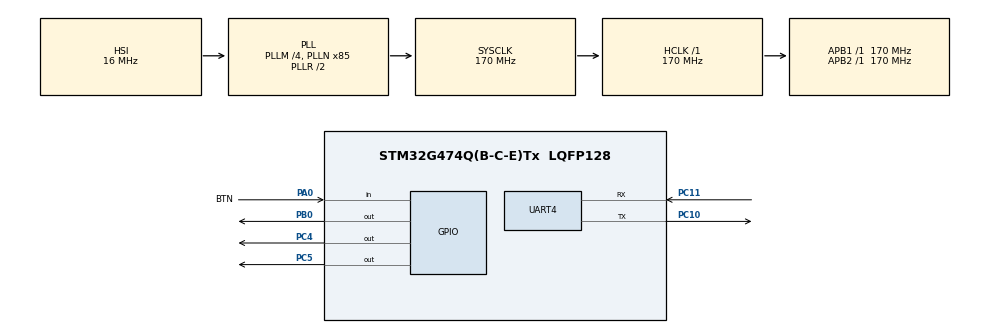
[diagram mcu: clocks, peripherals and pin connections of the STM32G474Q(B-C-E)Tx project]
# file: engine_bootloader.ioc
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Mcu.Family=STM32G4
Mcu.Name=STM32G474Q(B-C-E)Tx
Mcu.Package=LQFP128
NVIC.PriorityGroup=NVIC_PRIORITYGROUP_4
PA0.GPIO_Label=BTN
PA0.Signal=GPIO_Input
PA13.Mode=Serial_Wire
PA13.Signal=SYS_JTMS-SWDIO
PA14.Mode=Serial_Wire
PA14.Signal=SYS_JTCK-SWCLK
PB0.Signal=GPIO_Output
PC10.Mode=Asynchronous
PC10.Signal=UART4_TX
PC11.Mode=Asynchronous
PC11.Signal=UART4_RX
PC4.Signal=GPIO_Output
PC5.Signal=GPIO_Output
PF0-OSC_IN.Mode=HSE-External-Oscillator
PF0-OSC_IN.Signal=RCC_OSC_IN
PF1-OSC_OUT.Mode=HSE-External-Oscillator
PF1-OSC_OUT.Signal=RCC_OSC_OUT
ProjectManager.HeapSize=0x200
ProjectManager.StackSize=0x400
ProjectManager.TargetToolchain=STM32CubeIDE
RCC.ADC12Freq_Value=170000000
RCC.ADC345Freq_Value=170000000
RCC.AHBFreq_Value=170000000
RCC.APB1Freq_Value=170000000
RCC.APB1TimFreq_Value=170000000
RCC.APB2Freq_Value=170000000
RCC.APB2TimFreq_Value=170000000
RCC.CortexFreq_Value=170000000
RCC.EXTERNAL_CLOCK_VALUE=12288000
RCC.HCLKFreq_Value=170000000
RCC.HSE_VALUE=8000000
RCC.HSI48_VALUE=48000000
RCC.HSI_VALUE=16000000
RCC.LSE_VALUE=32768
RCC.PLLM=RCC_PLLM_DIV4
RCC.PLLN=85
RCC.SYSCLKFreq_VALUE=170000000
RCC.SYSCLKSource=RCC_SYSCLKSOURCE_PLLCLK
RCC.USBFreq_Value=170000000
RCC.VCOOutputFreq_Value=340000000
VP_SYS_VS_DBSignals.Mode=DisableDeadBatterySignals
board=custom

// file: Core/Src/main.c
/* USER CODE BEGIN Header */
/**
  ******************************************************************************
  * @file           : main.c
  * @brief          : Main program body
  ******************************************************************************
  * @attention
  *
  * Copyright (c) 2025 STMicroelectronics.
  * All rights reserved.
  *
  * This software is licensed under terms that can be found in the LICENSE file
  * in the root directory of this software component.
  * If no LICENSE file comes with this software, it is provided AS-IS.
  *
  ******************************************************************************
  */
/* USER CODE END Header */
#include "main.h"

/* USER CODE BEGIN Includes */
#include "xmodem.h"
/* USER CODE END Includes */

 UART_HandleTypeDef huart4;

void SystemClock_Config(void);
static void MX_GPIO_Init(void);
static void MX_UART4_Init(void);

int main(void)
{

  /* MCU Configuration--------------------------------------------------------*/

  /* Reset of all peripherals, Initializes the Flash interface and the Systick. */
  HAL_Init();

  /* Configure the system clock */
  SystemClock_Config();

  /* USER CODE BEGIN SysInit */
  #define BOOT_WAIT_MS 3000
  uint32_t start_tick = HAL_GetTick();
  uint8_t rx_data = 0;
  uint8_t boot_cmd_received = 0;
  /* USER CODE END SysInit */

  /* Initialize all configured peripherals */
  MX_GPIO_Init();
  MX_UART4_Init();
  /* USER CODE BEGIN 2 */
  uart_transmit_str((uint8_t*)"\n\r##########################################\n\r");
  uart_transmit_str((uint8_t*)"##    Kisan Engine System Bootloader    ##\n\r");
  uart_transmit_str((uint8_t*)"##         ( version : 0.0.3 )          ##\n\r");
  uart_transmit_str((uint8_t*)"##########################################\n\r");
  uart_transmit_str((uint8_t*)"Press 'b' to stay in bootloader mode...\n\r");

  /* If the button is pressed, then jump to the user application,
   * otherwise stay in the bootloader. */
  //if(!HAL_GPIO_ReadPin(BTN_GPIO_Port, BTN_Pin))

  while(HAL_GetTick() - start_tick < BOOT_WAIT_MS) {
      if(HAL_UART_Receive(&huart4, &rx_data, 1, 10) == HAL_OK) {
          if(rx_data == 'b') { // 원하는 명령 문자
              boot_cmd_received = 1;
              break;
          }
      }
  }

  if(! boot_cmd_received)
  {
    uart_transmit_str((uint8_t*)"Jumping to Application...\n\r");
    flash_jump_to_app();
  }
  else
  {
	  HAL_GPIO_WritePin(GPIOC, GPIO_PIN_4, GPIO_PIN_RESET);
	  HAL_GPIO_WritePin(GPIOC, GPIO_PIN_5, GPIO_PIN_RESET);
	  HAL_GPIO_WritePin(GPIOB, GPIO_PIN_0, GPIO_PIN_RESET);

  /* USER CODE END 2 */

  /* Infinite loop */
  /* USER CODE BEGIN WHILE */
	  while (1)
	  {
		  /* 메뉴 출력 */
		  uart_transmit_str((uint8_t*)"\n\r=== Kisan Coin System Bootloader ===\n\r");
		  uart_transmit_str((uint8_t*)"1. Download Application (Xmodem)\n\r");
		  uart_transmit_str((uint8_t*)"2. Download Config Data (Xmodem)\n\r");
		  uart_transmit_str((uint8_t*)"3. Jump to Application\n\r");
		  uart_transmit_str((uint8_t*)"Select option: ");

		  uint8_t menu_choice = 0;

		  /* 사용자 입력 대기 */
		  while(HAL_UART_Receive(&huart4, &menu_choice, 1, HAL_MAX_DELAY) != HAL_OK);

		  switch(menu_choice) {
		    case '1':
		      uart_transmit_str((uint8_t*)"\n\rReady for Application download...\n\r");
		      uart_transmit_str((uint8_t*)"Please send bin file with Xmodem protocol.\n\r");
		      xmodem_receive(DOWNLOAD_APP);
		      uart_transmit_str((uint8_t*)"\n\rApplication download failed. Please try again.\n\r");
		      break;

		    case '2':
		      uart_transmit_str((uint8_t*)"\n\rReady for Config Data download...\n\r");
		      uart_transmit_str((uint8_t*)"Please send config file with Xmodem protocol.\n\r");
		      xmodem_receive(DOWNLOAD_CONFIG);
		      uart_transmit_str((uint8_t*)"\n\rConfig download failed. Please try again.\n\r");
		      break;

		    case '3':
		      uart_transmit_str((uint8_t*)"Jumping to Application...\n\r");
		      flash_jump_to_app();
		      break;

		    default:
		      uart_transmit_str((uint8_t*)"\n\rInvalid option. Please try again.\n\r");
		      break;
		  }
    /* USER CODE END WHILE */

	  }
  }
}

void SystemClock_Config(void)
{
  RCC_OscInitTypeDef RCC_OscInitStruct = {0};
  RCC_ClkInitTypeDef RCC_ClkInitStruct = {0};

  /** Configure the main internal regulator output voltage
  */
  HAL_PWREx_ControlVoltageScaling(PWR_REGULATOR_VOLTAGE_SCALE1_BOOST);

  /** Initializes the RCC Oscillators according to the specified parameters
  * in the RCC_OscInitTypeDef structure.
  */
  RCC_OscInitStruct.OscillatorType = RCC_OSCILLATORTYPE_HSI;
  RCC_OscInitStruct.HSIState = RCC_HSI_ON;
  RCC_OscInitStruct.HSICalibrationValue = RCC_HSICALIBRATION_DEFAULT;
  RCC_OscInitStruct.PLL.PLLState = RCC_PLL_ON;
  RCC_OscInitStruct.PLL.PLLSource = RCC_PLLSOURCE_HSI;
  RCC_OscInitStruct.PLL.PLLM = RCC_PLLM_DIV4;
  RCC_OscInitStruct.PLL.PLLN = 85;
  RCC_OscInitStruct.PLL.PLLP = RCC_PLLP_DIV2;
  RCC_OscInitStruct.PLL.PLLQ = RCC_PLLQ_DIV2;
  RCC_OscInitStruct.PLL.PLLR = RCC_PLLR_DIV2;
  if (HAL_RCC_OscConfig(&RCC_OscInitStruct) != HAL_OK)
  {
    Error_Handler();
  }

  /** Initializes the CPU, AHB and APB buses clocks
  */
  RCC_ClkInitStruct.ClockType = RCC_CLOCKTYPE_HCLK|RCC_CLOCKTYPE_SYSCLK
                              |RCC_CLOCKTYPE_PCLK1|RCC_CLOCKTYPE_PCLK2;
  RCC_ClkInitStruct.SYSCLKSource = RCC_SYSCLKSOURCE_PLLCLK;
  RCC_ClkInitStruct.AHBCLKDivider = RCC_SYSCLK_DIV1;
  RCC_ClkInitStruct.APB1CLKDivider = RCC_HCLK_DIV1;
  RCC_ClkInitStruct.APB2CLKDivider = RCC_HCLK_DIV1;

  if (HAL_RCC_ClockConfig(&RCC_ClkInitStruct, FLASH_LATENCY_4) != HAL_OK)
  {
    Error_Handler();
  }
}

static void MX_UART4_Init(void)
{

  huart4.Instance = UART4;
  huart4.Init.BaudRate = 115200;
  huart4.Init.WordLength = UART_WORDLENGTH_8B;
  huart4.Init.StopBits = UART_STOPBITS_1;
  huart4.Init.Parity = UART_PARITY_NONE;
  huart4.Init.Mode = UART_MODE_TX_RX;
  huart4.Init.HwFlowCtl = UART_HWCONTROL_NONE;
  huart4.Init.OverSampling = UART_OVERSAMPLING_16;
  huart4.Init.OneBitSampling = UART_ONE_BIT_SAMPLE_DISABLE;
  huart4.Init.ClockPrescaler = UART_PRESCALER_DIV1;
  huart4.AdvancedInit.AdvFeatureInit = UART_ADVFEATURE_NO_INIT;
  if (HAL_UART_Init(&huart4) != HAL_OK)
  {
    Error_Handler();
  }
  if (HAL_UARTEx_SetTxFifoThreshold(&huart4, UART_TXFIFO_THRESHOLD_1_8) != HAL_OK)
  {
    Error_Handler();
  }
  if (HAL_UARTEx_SetRxFifoThreshold(&huart4, UART_RXFIFO_THRESHOLD_1_8) != HAL_OK)
  {
    Error_Handler();
  }
  if (HAL_UARTEx_DisableFifoMode(&huart4) != HAL_OK)
  {
    Error_Handler();
  }

}

static void MX_GPIO_Init(void)
{
  GPIO_InitTypeDef GPIO_InitStruct = {0};

  /* GPIO Ports Clock Enable */
  __HAL_RCC_GPIOF_CLK_ENABLE();
  __HAL_RCC_GPIOA_CLK_ENABLE();
  __HAL_RCC_GPIOC_CLK_ENABLE();
  __HAL_RCC_GPIOB_CLK_ENABLE();

  /*Configure GPIO pin Output Level */
  HAL_GPIO_WritePin(GPIOC, GPIO_PIN_4|GPIO_PIN_5, GPIO_PIN_RESET);

  /*Configure GPIO pin Output Level */
  HAL_GPIO_WritePin(GPIOB, GPIO_PIN_0, GPIO_PIN_RESET);

  /*Configure GPIO pin : BTN_Pin */
  GPIO_InitStruct.Pin = BTN_Pin;
  GPIO_InitStruct.Mode = GPIO_MODE_INPUT;
  GPIO_InitStruct.Pull = GPIO_NOPULL;
  HAL_GPIO_Init(BTN_GPIO_Port, &GPIO_InitStruct);

  /*Configure GPIO pins : PC4 PC5 */
  GPIO_InitStruct.Pin = GPIO_PIN_4|GPIO_PIN_5;
  GPIO_InitStruct.Mode = GPIO_MODE_OUTPUT_PP;
  GPIO_InitStruct.Pull = GPIO_NOPULL;
  GPIO_InitStruct.Speed = GPIO_SPEED_FREQ_LOW;
  HAL_GPIO_Init(GPIOC, &GPIO_InitStruct);

  /*Configure GPIO pin : PB0 */
  GPIO_InitStruct.Pin = GPIO_PIN_0;
  GPIO_InitStruct.Mode = GPIO_MODE_OUTPUT_PP;
  GPIO_InitStruct.Pull = GPIO_NOPULL;
  GPIO_InitStruct.Speed = GPIO_SPEED_FREQ_LOW;
  HAL_GPIO_Init(GPIOB, &GPIO_InitStruct);

}

void Error_Handler(void)
{
  __disable_irq();
  while (1)
  {
  }
}
